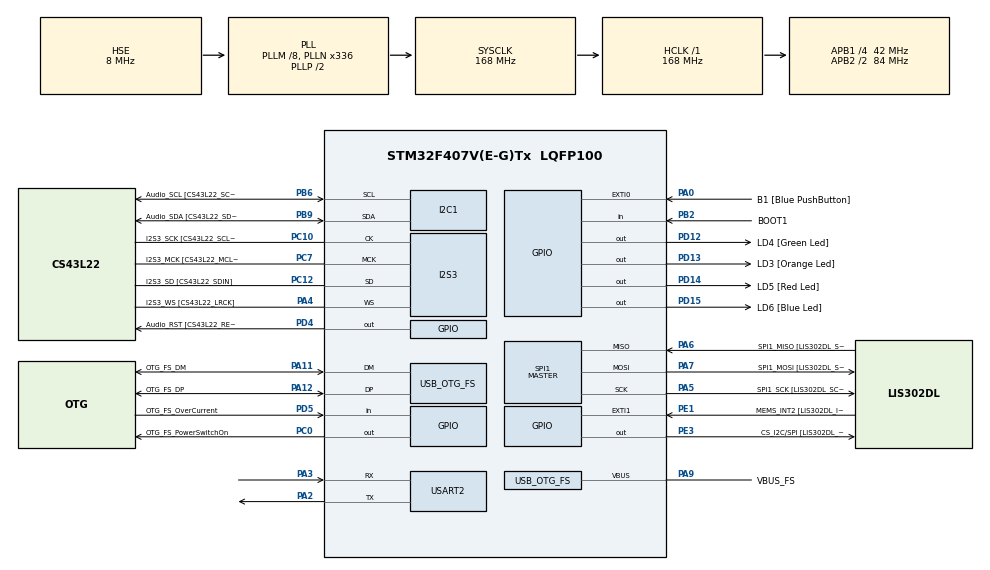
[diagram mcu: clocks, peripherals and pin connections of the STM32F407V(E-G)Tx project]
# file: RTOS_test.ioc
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I2S3.AudioFreq-Half_Duplex_Master=I2S_AUDIOFREQ_96K
I2S3.ErrorAudioFreq=-2.34 %
I2S3.ErrorAudioFreq-Half_Duplex_Master=0.8 %
I2S3.FullDuplexMode=I2S_FULLDUPLEXMODE_DISABLE
I2S3.Instance=SPI$Index
I2S3.RealAudioFreq=93.75 KHz
I2S3.RealAudioFreq-Half_Duplex_Master=96.774 KHz
I2S3.VirtualMode=I2S_MODE_MASTER
Mcu.Family=STM32F4
Mcu.Name=STM32F407V(E-G)Tx
Mcu.Package=LQFP100
NVIC.OTG_FS_IRQn=true\:0\:0\:false\:false\:true\:true\:true
NVIC.PriorityGroup=NVIC_PRIORITYGROUP_0
NVIC.USART2_IRQn=true\:0\:0\:false\:false\:true\:true\:true
PA0-WKUP.GPIO_Label=B1 [Blue PushButton]
PA0-WKUP.GPIO_ModeDefaultEXTI=GPIO_MODE_EVT_RISING
PA0-WKUP.GPIO_PuPd=GPIO_NOPULL
PA0-WKUP.Signal=GPXTI0
PA10.GPIO_Label=OTG_FS_ID
PA10.GPIO_Mode=GPIO_MODE_AF_PP
PA10.GPIO_PuPd=GPIO_NOPULL
PA10.GPIO_Speed=GPIO_SPEED_FREQ_LOW
PA10.Signal=USB_OTG_FS_ID
PA11.GPIO_Label=OTG_FS_DM
PA11.GPIO_Mode=GPIO_MODE_AF_PP
PA11.GPIO_PuPd=GPIO_NOPULL
PA11.GPIO_Speed=GPIO_SPEED_FREQ_LOW
PA11.Mode=Host_Only
PA11.Signal=USB_OTG_FS_DM
PA12.GPIO_Label=OTG_FS_DP
PA12.GPIO_Mode=GPIO_MODE_AF_PP
PA12.GPIO_PuPd=GPIO_NOPULL
PA12.GPIO_Speed=GPIO_SPEED_FREQ_LOW
PA12.Mode=Host_Only
PA12.Signal=USB_OTG_FS_DP
PA13.GPIO_Label=SWDIO
PA13.Mode=Serial_Wire
PA13.Signal=SYS_JTMS-SWDIO
PA14.GPIO_Label=SWCLK
PA14.Mode=Serial_Wire
PA14.Signal=SYS_JTCK-SWCLK
PA2.Mode=Asynchronous
PA2.Signal=USART2_TX
PA3.Mode=Asynchronous
PA3.Signal=USART2_RX
PA4.GPIO_Label=I2S3_WS [CS43L22_LRCK]
PA4.GPIO_Mode=GPIO_MODE_AF_PP
PA4.GPIO_PuPd=GPIO_NOPULL
PA4.GPIO_Speed=GPIO_SPEED_FREQ_LOW
PA4.Mode=Half_Duplex_Master
PA4.Signal=I2S3_WS
PA5.GPIO_Label=SPI1_SCK [LIS302DL_SCL/SPC]
PA5.GPIO_Mode=GPIO_MODE_AF_PP
PA5.GPIO_PuPd=GPIO_NOPULL
PA5.GPIO_Speed=GPIO_SPEED_FREQ_LOW
PA5.Mode=Full_Duplex_Master
PA5.Signal=SPI1_SCK
PA6.GPIO_Label=SPI1_MISO [LIS302DL_SDO]
PA6.GPIO_Mode=GPIO_MODE_AF_PP
PA6.GPIO_PuPd=GPIO_NOPULL
PA6.GPIO_Speed=GPIO_SPEED_FREQ_LOW
PA6.Mode=Full_Duplex_Master
PA6.Signal=SPI1_MISO
PA7.GPIO_Label=SPI1_MOSI [LIS302DL_SDA/SDI/SDO]
PA7.GPIO_Mode=GPIO_MODE_AF_PP
PA7.GPIO_PuPd=GPIO_NOPULL
PA7.GPIO_Speed=GPIO_SPEED_FREQ_LOW
PA7.Mode=Full_Duplex_Master
PA7.Signal=SPI1_MOSI
PA9.GPIO_Label=VBUS_FS
PA9.GPIO_Mode=GPIO_MODE_INPUT
PA9.GPIO_PuPd=GPIO_NOPULL
PA9.Mode=Activate_VBUS
PA9.Signal=USB_OTG_FS_VBUS
PB10.GPIO_Label=CLK_IN [MP45DT02_CLK]
PB10.GPIO_Mode=GPIO_MODE_AF_PP
PB10.GPIO_PuPd=GPIO_NOPULL
PB10.GPIO_Speed=GPIO_SPEED_FREQ_LOW
PB10.Signal=I2S2_CK
PB2.GPIO_Label=BOOT1
PB2.GPIO_Mode=GPIO_MODE_INPUT
PB2.GPIO_PuPd=GPIO_NOPULL
PB2.Signal=GPIO_Input
PB3.GPIO_Label=SWO
PB3.Signal=SYS_JTDO-SWO
PB6.GPIO_Label=Audio_SCL [CS43L22_SCL]
PB6.GPIO_Mode=GPIO_MODE_AF_OD
PB6.GPIO_PuPd=GPIO_NOPULL
PB6.GPIO_Speed=GPIO_SPEED_FREQ_LOW
PB6.Mode=I2C
PB6.Signal=I2C1_SCL
PB9.GPIO_Label=Audio_SDA [CS43L22_SDA]
PB9.GPIO_Mode=GPIO_MODE_AF_OD
PB9.GPIO_PuPd=GPIO_NOPULL
PB9.GPIO_Speed=GPIO_SPEED_FREQ_LOW
PB9.Mode=I2C
PB9.Signal=I2C1_SDA
PC0.GPIO_Label=OTG_FS_PowerSwitchOn
PC0.GPIO_PuPd=GPIO_NOPULL
PC0.GPIO_Speed=GPIO_SPEED_FREQ_LOW
PC0.PinState=GPIO_PIN_SET
PC0.Signal=GPIO_Output
PC10.GPIO_Label=I2S3_SCK [CS43L22_SCLK]
PC10.GPIO_Mode=GPIO_MODE_AF_PP
PC10.GPIO_PuPd=GPIO_NOPULL
PC10.GPIO_Speed=GPIO_SPEED_FREQ_LOW
PC10.Mode=Half_Duplex_Master
PC10.Signal=I2S3_CK
PC12.GPIO_Label=I2S3_SD [CS43L22_SDIN]
PC12.GPIO_Mode=GPIO_MODE_AF_PP
PC12.GPIO_PuPd=GPIO_NOPULL
PC12.GPIO_Speed=GPIO_SPEED_FREQ_LOW
PC12.Mode=Half_Duplex_Master
PC12.Signal=I2S3_SD
PC14-OSC32_IN.GPIO_Label=PC14-OSC32_IN
PC14-OSC32_IN.Mode=LSE-External-Oscillator
PC14-OSC32_IN.Signal=RCC_OSC32_IN
PC15-OSC32_OUT.GPIO_Label=PC15-OSC32_OUT
PC15-OSC32_OUT.Mode=LSE-External-Oscillator
PC15-OSC32_OUT.Signal=RCC_OSC32_OUT
PC3.GPIO_Label=PDM_OUT [MP45DT02_DOUT]
PC3.GPIO_Mode=GPIO_MODE_AF_PP
PC3.GPIO_PuPd=GPIO_NOPULL
PC3.GPIO_Speed=GPIO_SPEED_FREQ_LOW
PC3.Signal=I2S2_SD
PC7.GPIO_Label=I2S3_MCK [CS43L22_MCLK]
PC7.GPIO_Mode=GPIO_MODE_AF_PP
PC7.GPIO_PuPd=GPIO_NOPULL
PC7.GPIO_Speed=GPIO_SPEED_FREQ_LOW
PC7.Mode=Master_Clock_Activated
PC7.Signal=I2S3_MCK
PD12.GPIO_Label=LD4 [Green Led]
PD12.GPIO_PuPd=GPIO_NOPULL
PD12.GPIO_Speed=GPIO_SPEED_FREQ_LOW
PD12.Signal=GPIO_Output
PD13.GPIO_Label=LD3 [Orange Led]
PD13.GPIO_PuPd=GPIO_NOPULL
PD13.GPIO_Speed=GPIO_SPEED_FREQ_LOW
PD13.Signal=GPIO_Output
PD14.GPIO_Label=LD5 [Red Led]
PD14.GPIO_PuPd=GPIO_NOPULL
PD14.GPIO_Speed=GPIO_SPEED_FREQ_LOW
PD14.Signal=GPIO_Output
PD15.GPIO_Label=LD6 [Blue Led]
PD15.GPIO_PuPd=GPIO_NOPULL
PD15.GPIO_Speed=GPIO_SPEED_FREQ_LOW
PD15.Signal=GPIO_Output
PD4.GPIO_Label=Audio_RST [CS43L22_RESET]
PD4.GPIO_PuPd=GPIO_NOPULL
PD4.GPIO_Speed=GPIO_SPEED_FREQ_LOW
PD4.Signal=GPIO_Output
PD5.GPIO_Label=OTG_FS_OverCurrent
PD5.GPIO_Mode=GPIO_MODE_INPUT
PD5.GPIO_PuPd=GPIO_NOPULL
PD5.Signal=GPIO_Input
PE1.GPIO_Label=MEMS_INT2 [LIS302DL_INT2]
PE1.GPIO_ModeDefaultEXTI=GPIO_MODE_EVT_RISING
PE1.GPIO_PuPd=GPIO_NOPULL
PE1.Signal=GPXTI1
PE3.GPIO_Label=CS_I2C/SPI [LIS302DL_CS_I2C/SPI]
PE3.GPIO_PuPd=GPIO_NOPULL
PE3.GPIO_Speed=GPIO_SPEED_FREQ_LOW
PE3.Signal=GPIO_Output
PH0-OSC_IN.GPIO_Label=PH0-OSC_IN
PH0-OSC_IN.Mode=HSE-External-Oscillator
PH0-OSC_IN.Signal=RCC_OSC_IN
PH1-OSC_OUT.GPIO_Label=PH1-OSC_OUT
PH1-OSC_OUT.Mode=HSE-External-Oscillator
PH1-OSC_OUT.Signal=RCC_OSC_OUT
ProjectManager.HeapSize=0x200
ProjectManager.StackSize=0x400
ProjectManager.TargetToolchain=Makefile
RCC.48MHZClocksFreq_Value=48000000
RCC.AHBFreq_Value=168000000
RCC.APB1CLKDivider=RCC_HCLK_DIV4
RCC.APB1Freq_Value=42000000
RCC.APB1TimFreq_Value=84000000
RCC.APB2CLKDivider=RCC_HCLK_DIV2
RCC.APB2Freq_Value=84000000
RCC.APB2TimFreq_Value=168000000
RCC.CortexFreq_Value=168000000
RCC.HCLKFreq_Value=168000000
RCC.HSE_VALUE=8000000
RCC.HSI_VALUE=16000000
RCC.PLLM=8
RCC.PLLN=336
RCC.PLLQ=7
RCC.SYSCLKFreq_VALUE=168000000
RCC.SYSCLKSource=RCC_SYSCLKSOURCE_PLLCLK
RCC.VCOOutputFreq_Value=336000000
SPI1.BaudRatePrescaler-Full_Duplex_Master=SPI_BAUDRATEPRESCALER_2
SPI1.CalculateBaudRate-Full_Duplex_Master=42.0 MBits/s
SPI1.Direction=SPI_DIRECTION_2LINES
SPI1.Mode=SPI_MODE_MASTER
SPI1.Mode-Full_Duplex_Master=SPI_MODE_MASTER
SPI1.VirtualType=VM_MASTER
USART2.VirtualMode=VM_ASYNC
USB_HOST.BSP.number=1
USB_HOST.USBH_HandleTypeDef-CDC_FS=hUsbHostFS
USB_HOST.VirtualModeFS=Cdc
USB_HOST0.BSP.STBoard=false
USB_HOST0.BSP.api=Unknown
USB_HOST0.BSP.i2caddr=0
USB_HOST0.BSP.i2creg=0
USB_HOST0.BSP.instance=PC0
USB_HOST0.BSP.ip=GPIO
USB_HOST0.BSP.mode=Output
USB_HOST0.BSP.name=Drive_VBUS_FS
USB_HOST0.BSP.solution=PC0
USB_OTG_FS.VirtualMode=Host_Only
USB_OTG_FS.phy_itface=HCD_PHY_EMBEDDED
VP_USB_HOST_VS_USB_HOST_CDC_FS.Mode=CDC_FS
board=STM32F407G-DISC1

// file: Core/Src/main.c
/* USER CODE BEGIN Header */
/**
  ******************************************************************************
  * @file           : main.c
  * @brief          : Main program body
  ******************************************************************************
  * @attention
  *
  * <h2><center>&copy; Copyright (c) 2021 STMicroelectronics.
  * All rights reserved.</center></h2>
  *
  * This software component is licensed by ST under Ultimate Liberty license
  * SLA0044, the "License"; You may not use this file except in compliance with
  * the License. You may obtain a copy of the License at:
  *                             www.st.com/SLA0044
  *
  ******************************************************************************
  */
/* USER CODE END Header */
#include "main.h"
#include "i2c.h"
#include "i2s.h"
#include "spi.h"
#include "usart.h"
#include "usb_host.h"
#include "gpio.h"

#include "string.h"

#include "FreeRTOS.h"
#include "list.h"
#include "task.h"
extern List_t pxReadyTasksLists[ configMAX_PRIORITIES ];

/* USER CODE BEGIN PTD */
#define TASK1_STACK_SIZE     128
#define TASK2_STACK_SIZE     128
/* USER CODE END PTD */

List_t pxReadyTasksLists_1;
List_t pxReadyTasksLists_2;

ListItem_t List_Item1;
ListItem_t List_Item2;

StackType_t Task1Stack[TASK1_STACK_SIZE];
StackType_t Task2Stack[TASK2_STACK_SIZE];

StaticTask_t Task1TCB;
StaticTask_t Task2TCB;

TaskHandle_t Task1_Handle;
TaskHandle_t Task2_Handle;

void SystemClock_Config(void);
void MX_USB_HOST_Process(void);

/* USER CODE BEGIN PFP */
void Task1_Entry()
{
    while(1)
    {
        HAL_GPIO_WritePin(GPIOD, GPIO_PIN_15, GPIO_PIN_RESET);
        HAL_Delay(100);
        HAL_GPIO_WritePin(GPIOD, GPIO_PIN_15, GPIO_PIN_SET);
        HAL_Delay(100);
    }
}

void Task2_Entry()
{
    while(1)
    {
        HAL_GPIO_WritePin(GPIOD, GPIO_PIN_14, GPIO_PIN_RESET);
        HAL_Delay(100);
        HAL_GPIO_WritePin(GPIOD, GPIO_PIN_14, GPIO_PIN_SET);
        HAL_Delay(100);
    }
}

void vApplicationGetIdleTaskMemory( StaticTask_t **ppxIdleTaskTCBBuffer,
                                    StackType_t **ppxIdleTaskStackBuffer,
                                    uint32_t *pulIdleTaskStackSize )
{
/* If the buffers to be provided to the Idle task are declared inside this
function then they must be declared static - otherwise they will be allocated on
the stack and so not exists after this function exits. */
static StaticTask_t xIdleTaskTCB;
static StackType_t uxIdleTaskStack[ configMINIMAL_STACK_SIZE ];

    /* Pass out a pointer to the StaticTask_t structure in which the Idle task's
    state will be stored. */
    *ppxIdleTaskTCBBuffer = &xIdleTaskTCB;

    /* Pass out the array that will be used as the Idle task's stack. */
    *ppxIdleTaskStackBuffer = uxIdleTaskStack;

    /* Pass out the size of the array pointed to by *ppxIdleTaskStackBuffer.
    Note that, as the array is necessarily of type StackType_t,
    configMINIMAL_STACK_SIZE is specified in words, not bytes. */
    *pulIdleTaskStackSize = configMINIMAL_STACK_SIZE;
}

/* configSUPPORT_STATIC_ALLOCATION and configUSE_TIMERS are both set to 1, so the
application must provide an implementation of vApplicationGetTimerTaskMemory()
to provide the memory that is used by the Timer service task. */
void vApplicationGetTimerTaskMemory( StaticTask_t **ppxTimerTaskTCBBuffer,
                                     StackType_t **ppxTimerTaskStackBuffer,
                                     uint32_t *pulTimerTaskStackSize )
{
/* If the buffers to be provided to the Timer task are declared inside this
function then they must be declared static - otherwise they will be allocated on
the stack and so not exists after this function exits. */
static StaticTask_t xTimerTaskTCB;
static StackType_t uxTimerTaskStack[ configTIMER_TASK_STACK_DEPTH ];

    /* Pass out a pointer to the StaticTask_t structure in which the Timer
    task's state will be stored. */
    *ppxTimerTaskTCBBuffer = &xTimerTaskTCB;

    /* Pass out the array that will be used as the Timer task's stack. */
    *ppxTimerTaskStackBuffer = uxTimerTaskStack;

    /* Pass out the size of the array pointed to by *ppxTimerTaskStackBuffer.
    Note that, as the array is necessarily of type StackType_t,
    configTIMER_TASK_STACK_DEPTH is specified in words, not bytes. */
    *pulTimerTaskStackSize = configTIMER_TASK_STACK_DEPTH;
}
/* USER CODE END PFP */

int main(void)
{

  /* MCU Configuration--------------------------------------------------------*/

  /* Reset of all peripherals, Initializes the Flash interface and the Systick. */
  HAL_Init();

  /* Configure the system clock */
  SystemClock_Config();

  /* Initialize all configured peripherals */
  MX_GPIO_Init();
  MX_I2C1_Init();
  MX_I2S3_Init();
  MX_SPI1_Init();
  MX_USART2_UART_Init();
  MX_USB_HOST_Init();

  /* Infinite loop */
  while (1)
  {
    MX_USB_HOST_Process();
    Task1_Handle = xTaskCreateStatic((TaskFunction_t) Task1_Entry,
                                    (char *)"Task1",
                                    (uint32_t)TASK1_STACK_SIZE,
                                    (void *)NULL,
                                    ( (UBaseType_t) 1 ),
                                    (StackType_t *)Task1Stack,
                                    (StaticTask_t *)&Task1TCB);
    vListInsertEnd(&(pxReadyTasksLists[1]), &(Task1TCB.xDummy3[0]));
    Task2_Handle = xTaskCreateStatic((TaskFunction_t) Task2_Entry,
                                    (char *)"Task2",
                                    (uint32_t)TASK2_STACK_SIZE,
                                    (void *)NULL,
                                    ( (UBaseType_t) 2 ),
                                    (StackType_t *)Task2Stack,
                                    (StaticTask_t *)&Task2TCB);
    vListInsertEnd(&(pxReadyTasksLists[2]), &(Task2TCB.xDummy3[0]));
    HAL_GPIO_WritePin(GPIOD, GPIO_PIN_15, GPIO_PIN_SET);
    portDISABLE_INTERRUPTS();
    printf("hello\r\n");
    printf("hello\r\n");
    vTaskStartScheduler();
  }
}

void SystemClock_Config(void)
{
  RCC_OscInitTypeDef RCC_OscInitStruct = {0};
  RCC_ClkInitTypeDef RCC_ClkInitStruct = {0};
  RCC_PeriphCLKInitTypeDef PeriphClkInitStruct = {0};

  /** Configure the main internal regulator output voltage
  */
  __HAL_RCC_PWR_CLK_ENABLE();
  __HAL_PWR_VOLTAGESCALING_CONFIG(PWR_REGULATOR_VOLTAGE_SCALE1);
  /** Initializes the RCC Oscillators according to the specified parameters
  * in the RCC_OscInitTypeDef structure.
  */
  RCC_OscInitStruct.OscillatorType = RCC_OSCILLATORTYPE_HSE;
  RCC_OscInitStruct.HSEState = RCC_HSE_ON;
  RCC_OscInitStruct.PLL.PLLState = RCC_PLL_ON;
  RCC_OscInitStruct.PLL.PLLSource = RCC_PLLSOURCE_HSE;
  RCC_OscInitStruct.PLL.PLLM = 8;
  RCC_OscInitStruct.PLL.PLLN = 336;
  RCC_OscInitStruct.PLL.PLLP = RCC_PLLP_DIV2;
  RCC_OscInitStruct.PLL.PLLQ = 7;
  if (HAL_RCC_OscConfig(&RCC_OscInitStruct) != HAL_OK)
  {
    Error_Handler();
  }
  /** Initializes the CPU, AHB and APB buses clocks
  */
  RCC_ClkInitStruct.ClockType = RCC_CLOCKTYPE_HCLK|RCC_CLOCKTYPE_SYSCLK
                              |RCC_CLOCKTYPE_PCLK1|RCC_CLOCKTYPE_PCLK2;
  RCC_ClkInitStruct.SYSCLKSource = RCC_SYSCLKSOURCE_PLLCLK;
  RCC_ClkInitStruct.AHBCLKDivider = RCC_SYSCLK_DIV1;
  RCC_ClkInitStruct.APB1CLKDivider = RCC_HCLK_DIV4;
  RCC_ClkInitStruct.APB2CLKDivider = RCC_HCLK_DIV2;

  if (HAL_RCC_ClockConfig(&RCC_ClkInitStruct, FLASH_LATENCY_5) != HAL_OK)
  {
    Error_Handler();
  }
  PeriphClkInitStruct.PeriphClockSelection = RCC_PERIPHCLK_I2S;
  PeriphClkInitStruct.PLLI2S.PLLI2SN = 192;
  PeriphClkInitStruct.PLLI2S.PLLI2SR = 2;
  if (HAL_RCCEx_PeriphCLKConfig(&PeriphClkInitStruct) != HAL_OK)
  {
    Error_Handler();
  }
}

void Error_Handler(void)
{
  __disable_irq();
  while (1)
  {
  }
}

#ifdef __GNUC__
#define PUTCHAR_PROTOTYPE int __io_putchar(int ch)
#else
#define PUTCHAR_PROTOTYPE int fputc(int ch, FILE *f)
#endif /* __GNUC__ */

/**
  * @brief  Retargets the C library printf function to the USART.
  * @param  None
  * @retval None
  */
PUTCHAR_PROTOTYPE
{
  HAL_UART_Transmit(&huart2, (uint8_t *)&ch, 1, HAL_MAX_DELAY);
  return ch;
}

/************************ (C) COPYRIGHT STMicroelectronics *****END OF FILE****/
